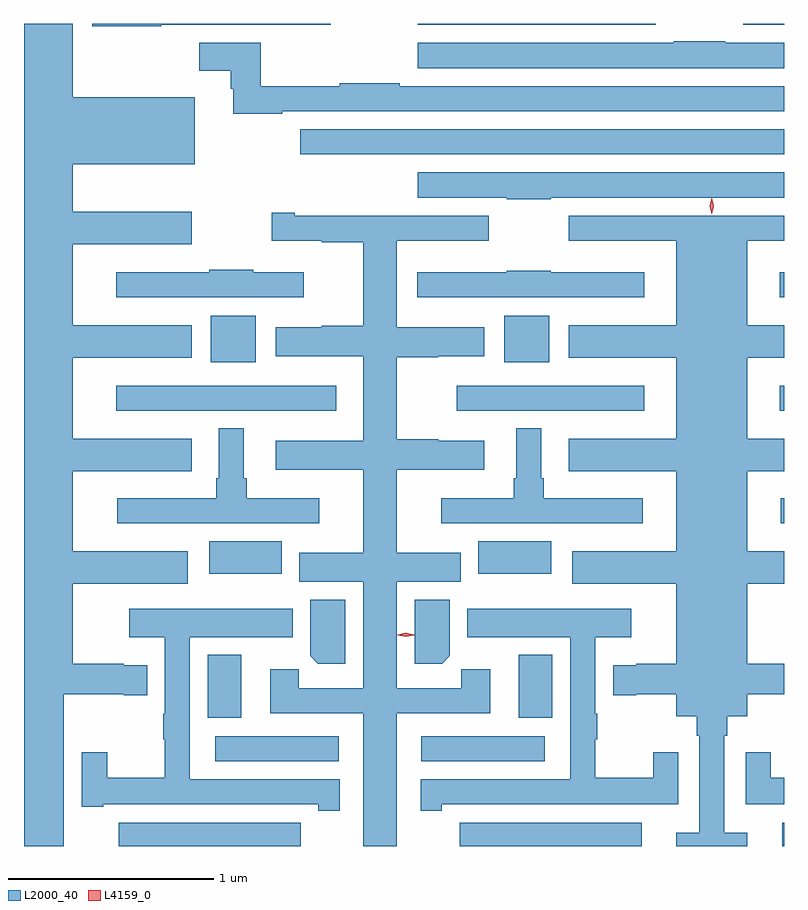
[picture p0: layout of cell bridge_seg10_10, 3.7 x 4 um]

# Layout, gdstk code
import gdstk
lib = gdstk.Library(unit=1e-6, precision=1e-09)
def R(c, l, rs):  # rectangles x0, y0, x1, y1
    for r in rs: c.add(gdstk.rectangle(r[:2], r[2:], *l))
def P(c, l, *ps):  # polygons
    for p in ps: c.add(gdstk.Polygon(p, *l))
L2000_40 = (2000, 40)
L4159_0 = (4159, 0)

bridge_seg10_10 = lib.new_cell('bridge_seg10_10')
R(bridge_seg10_10, L2000_40, [(1059.798,1325.007,1060.684,1325.122), (1061.457,1325.007,1062.343,1325.122), (1063.026,1325.007,1063.035,1325.122), (1060.269,1325.42,1060.87,1325.542), (1061.271,1325.42,1061.872,1325.542), (1060.232,1325.631,1060.396,1325.938), (1061.744,1325.631,1061.908,1325.938), (1060.239,1326.332,1060.593,1326.49), (1061.548,1326.332,1061.902,1326.49), (1063.02,1326.578,1063.035,1326.7), (1059.786,1327.124,1060.858,1327.246), (1061.442,1327.124,1062.355,1327.246), (1063.014,1327.124,1063.035,1327.246), (1060.247,1327.361,1060.465,1327.588), (1061.675,1327.361,1061.893,1327.588), (1063.014,1327.676,1063.035,1327.798), (1060.683,1328.372,1063.035,1328.494), (1061.253,1329.002,1062.412,1329.007), (1062.837,1329.002,1063.035,1329.007)])
P(bridge_seg10_10, L2000_40, [(1059.532,1325.747),(1059.824,1325.747),(1059.824,1325.74),(1059.937,1325.74),(1059.937,1325.887),(1059.824,1325.887),(1059.824,1325.895),(1059.574,1325.895),(1059.574,1326.284),(1060.135,1326.284),(1060.135,1326.442),(1059.574,1326.442),(1059.574,1326.83),(1060.153,1326.83),(1060.153,1326.988),(1059.574,1326.988),(1059.574,1327.382),(1060.153,1327.382),(1060.153,1327.54),(1059.574,1327.54),(1059.574,1327.934),(1060.153,1327.934),(1060.153,1328.092),(1059.574,1328.092),(1059.574,1328.324),(1060.168,1328.324),(1060.168,1328.65),(1059.574,1328.65),(1059.574,1329.007),(1059.338,1329.007),(1059.338,1325.007),(1059.532,1325.007)],
  [(1060.005,1329.002),(1060.831,1329.002),(1060.831,1329.007),(1059.669,1329.007),(1059.669,1328.995),(1060.005,1328.995)],
  [(1063.035,1328.914),(1062.749,1328.914),(1062.749,1328.922),(1062.499,1328.922),(1062.499,1328.914),(1061.253,1328.914),(1061.253,1328.792),(1063.035,1328.792)],
  [(1060.595,1328.582),(1063.035,1328.582),(1063.035,1328.704),(1061.165,1328.704),(1061.165,1328.717),(1060.873,1328.717),(1060.873,1328.704),(1060.49,1328.704),(1060.49,1328.914),(1060.191,1328.914),(1060.191,1328.78),(1060.343,1328.78),(1060.343,1328.691),(1060.355,1328.691),(1060.355,1328.57),(1060.595,1328.57)],
  [(1061.9,1328.162),(1063.035,1328.162),(1063.035,1328.284),(1061.253,1328.284),(1061.253,1328.162),(1061.686,1328.162),(1061.686,1328.155),(1061.9,1328.155)],
  [(1061.152,1325.654),(1061.605,1325.654),(1061.605,1325.868),(1061.466,1325.868),(1061.466,1325.776),(1061.152,1325.776),(1061.152,1326.293),(1061.463,1326.293),(1061.463,1326.433),(1061.152,1326.433),(1061.152,1326.839),(1061.578,1326.839),(1061.578,1326.979),(1061.354,1326.979),(1061.354,1326.987),(1061.152,1326.987),(1061.152,1327.384),(1061.354,1327.384),(1061.354,1327.391),(1061.578,1327.391),(1061.578,1327.531),(1061.152,1327.531),(1061.152,1327.952),(1061.599,1327.952),(1061.599,1328.074),(1060.654,1328.074),(1060.654,1328.087),(1060.542,1328.087),(1060.542,1327.952),(1060.786,1327.952),(1060.786,1327.945),(1060.988,1327.945),(1060.988,1327.539),(1060.786,1327.539),(1060.786,1327.531),(1060.563,1327.531),(1060.563,1327.391),(1060.988,1327.391),(1060.988,1326.979),(1060.563,1326.979),(1060.563,1326.839),(1060.988,1326.839),(1060.988,1326.433),(1060.678,1326.433),(1060.678,1326.293),(1060.988,1326.293),(1060.988,1325.776),(1060.674,1325.776),(1060.674,1325.868),(1060.535,1325.868),(1060.535,1325.654),(1060.988,1325.654),(1060.988,1325.007),(1061.152,1325.007)],
  [(1062.856,1325.071),(1062.745,1325.071),(1062.745,1325.543),(1062.758,1325.543),(1062.758,1325.639),(1062.856,1325.639),(1062.856,1325.747),(1063.035,1325.747),(1063.035,1325.895),(1062.856,1325.895),(1062.856,1326.284),(1063.035,1326.284),(1063.035,1326.442),(1062.856,1326.442),(1062.856,1326.83),(1063.035,1326.83),(1063.035,1326.988),(1062.856,1326.988),(1062.856,1327.382),(1063.035,1327.382),(1063.035,1327.54),(1062.856,1327.54),(1062.856,1327.952),(1063.035,1327.952),(1063.035,1328.074),(1061.988,1328.074),(1061.988,1327.952),(1062.512,1327.952),(1062.512,1327.54),(1061.988,1327.54),(1061.988,1327.382),(1062.512,1327.382),(1062.512,1326.988),(1061.988,1326.988),(1061.988,1326.83),(1062.512,1326.83),(1062.512,1326.442),(1062.006,1326.442),(1062.006,1326.284),(1062.512,1326.284),(1062.512,1325.895),(1062.316,1325.895),(1062.316,1325.887),(1062.204,1325.887),(1062.204,1325.74),(1062.316,1325.74),(1062.316,1325.747),(1062.512,1325.747),(1062.512,1325.639),(1062.611,1325.639),(1062.611,1325.543),(1062.623,1325.543),(1062.623,1325.071),(1062.512,1325.071),(1062.512,1325.007),(1062.856,1325.007)],
  [(1060.699,1327.798),(1060.454,1327.798),(1060.454,1327.811),(1060.24,1327.811),(1060.24,1327.798),(1059.786,1327.798),(1059.786,1327.676),(1060.699,1327.676)],
  [(1062.355,1327.798),(1061.9,1327.798),(1061.9,1327.806),(1061.686,1327.806),(1061.686,1327.798),(1061.25,1327.798),(1061.25,1327.676),(1062.355,1327.676)],
  [(1060.774,1326.7),(1060.421,1326.7),(1060.421,1326.796),(1060.408,1326.796),(1060.408,1327.039),(1060.286,1327.039),(1060.286,1326.796),(1060.274,1326.796),(1060.274,1326.7),(1059.792,1326.7),(1059.792,1326.578),(1060.774,1326.578)],
  [(1062.349,1326.7),(1061.867,1326.7),(1061.867,1326.796),(1061.854,1326.796),(1061.854,1327.039),(1061.732,1327.039),(1061.732,1326.796),(1061.72,1326.796),(1061.72,1326.7),(1061.367,1326.7),(1061.367,1326.578),(1062.349,1326.578)],
  [(1061.41,1325.932),(1061.41,1326.205),(1061.24,1326.205),(1061.24,1325.895),(1061.372,1325.895)],
  [(1060.9,1326.205),(1060.73,1326.205),(1060.73,1325.932),(1060.768,1325.895),(1060.9,1325.895)],
  [(1061.37,1325.21),(1062.52,1325.21),(1062.52,1325.464),(1062.398,1325.464),(1062.398,1325.34),(1062.118,1325.34),(1062.118,1325.528),(1062.126,1325.528),(1062.126,1325.651),(1062.118,1325.651),(1062.118,1326.023),(1062.292,1326.023),(1062.292,1326.163),(1061.495,1326.163),(1061.495,1326.023),(1061.996,1326.023),(1061.996,1325.332),(1061.268,1325.332),(1061.268,1325.18),(1061.37,1325.18)],
  [(1060.873,1325.332),(1060.144,1325.332),(1060.144,1326.023),(1060.645,1326.023),(1060.645,1326.163),(1059.849,1326.163),(1059.849,1326.023),(1060.022,1326.023),(1060.022,1325.651),(1060.015,1325.651),(1060.015,1325.528),(1060.022,1325.528),(1060.022,1325.34),(1059.742,1325.34),(1059.742,1325.464),(1059.62,1325.464),(1059.62,1325.198),(1059.724,1325.198),(1059.724,1325.21),(1060.77,1325.21),(1060.77,1325.18),(1060.873,1325.18)],
  [(1063.035,1325.34),(1062.97,1325.34),(1062.97,1325.464),(1062.848,1325.464),(1062.848,1325.21),(1063.035,1325.21)])
P(bridge_seg10_10, L4159_0, [(1062.684,1328.08),(1062.684,1328.08),(1062.674,1328.121),(1062.684,1328.162),(1062.684,1328.162),(1062.684,1328.162),(1062.694,1328.121),(1062.684,1328.08)],
  [(1061.196,1326.025),(1061.155,1326.034),(1061.155,1326.035),(1061.155,1326.035),(1061.196,1326.045),(1061.237,1326.035),(1061.237,1326.035),(1061.237,1326.034)])

lib.write_gds('bridge_seg10_10.gds')
